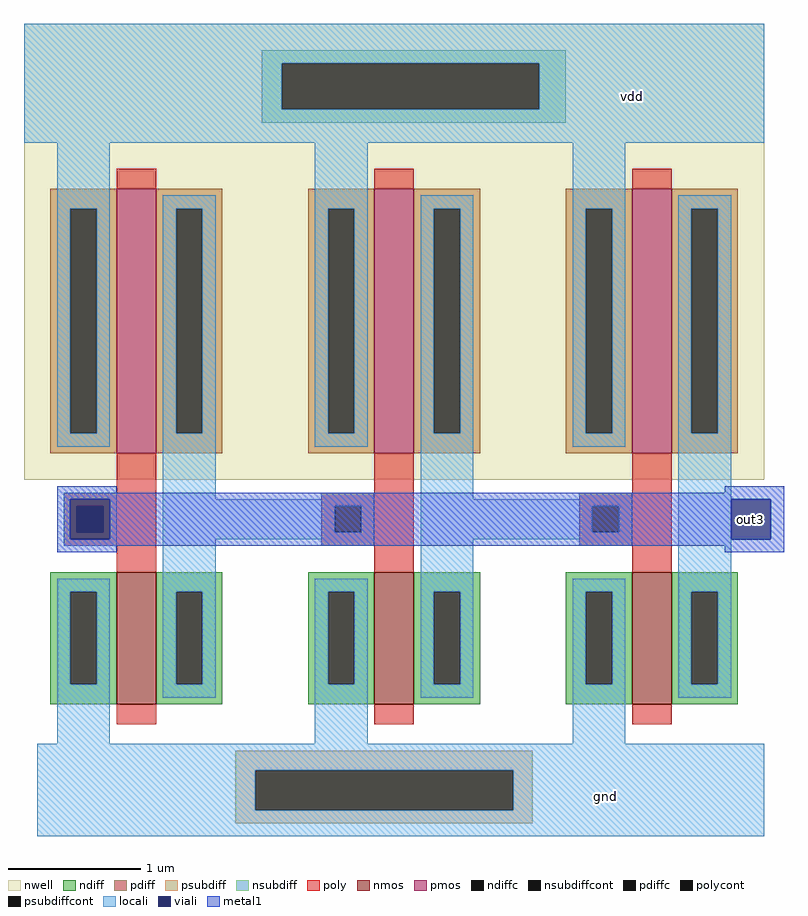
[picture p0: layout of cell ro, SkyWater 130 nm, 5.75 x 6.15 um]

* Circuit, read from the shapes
.subckt ro gnd out3 vdd
XM1 n1 out3 gnd gnd sky130_fd_pr__nfet_01v8 w=1 l=0.3
XM2 n2 n1 gnd gnd sky130_fd_pr__nfet_01v8 w=1 l=0.3
XM3 out3 n2 gnd gnd sky130_fd_pr__nfet_01v8 w=1 l=0.3
XM4 n1 out3 vdd vdd sky130_fd_pr__pfet_01v8 w=2 l=0.3
XM5 n2 n1 vdd vdd sky130_fd_pr__pfet_01v8 w=2 l=0.3
XM6 out3 n2 vdd vdd sky130_fd_pr__pfet_01v8 w=2 l=0.3
.ends

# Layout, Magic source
magic
tech sky130A
<< nwell >>
rect -60 160 500 505
<< nmos >>
rect 10 -10 40 90
rect 205 -10 235 90
rect 400 -10 430 90
<< pmos >>
rect 10 180 40 380
rect 205 180 235 380
rect 400 180 430 380
<< ndiff >>
rect -40 75 10 90
rect -40 5 -25 75
rect -5 5 10 75
rect -40 -10 10 5
rect 40 75 90 90
rect 40 5 55 75
rect 75 5 90 75
rect 40 -10 90 5
rect 155 75 205 90
rect 155 5 170 75
rect 190 5 205 75
rect 155 -10 205 5
rect 235 75 285 90
rect 235 5 250 75
rect 270 5 285 75
rect 235 -10 285 5
rect 350 75 400 90
rect 350 5 365 75
rect 385 5 400 75
rect 350 -10 400 5
rect 430 75 480 90
rect 430 5 445 75
rect 465 5 480 75
rect 430 -10 480 5
<< pdiff >>
rect -40 365 10 380
rect -40 195 -25 365
rect -5 195 10 365
rect -40 180 10 195
rect 40 365 90 380
rect 40 195 55 365
rect 75 195 90 365
rect 40 180 90 195
rect 155 365 205 380
rect 155 195 170 365
rect 190 195 205 365
rect 155 180 205 195
rect 235 365 285 380
rect 235 195 250 365
rect 270 195 285 365
rect 235 180 285 195
rect 350 365 400 380
rect 350 195 365 365
rect 385 195 400 365
rect 350 180 400 195
rect 430 365 480 380
rect 430 195 445 365
rect 465 195 480 365
rect 430 180 480 195
<< ndiffc >>
rect -25 5 -5 75
rect 55 5 75 75
rect 170 5 190 75
rect 250 5 270 75
rect 365 5 385 75
rect 445 5 465 75
<< pdiffc >>
rect -25 195 -5 365
rect 55 195 75 365
rect 170 195 190 365
rect 250 195 270 365
rect 365 195 385 365
rect 445 195 465 365
<< psubdiff >>
rect 100 -60 325 -45
rect 100 -90 115 -60
rect 310 -90 325 -60
rect 100 -100 325 -90
<< nsubdiff >>
rect 120 475 350 485
rect 120 440 135 475
rect 330 440 350 475
rect 120 430 350 440
<< psubdiffcont >>
rect 115 -90 310 -60
<< nsubdiffcont >>
rect 135 440 330 475
<< poly >>
rect 10 380 40 395
rect 205 380 235 395
rect 400 380 430 395
rect 10 150 40 180
rect 205 150 235 180
rect 400 150 430 180
rect -30 140 40 150
rect -30 120 -20 140
rect 0 120 40 140
rect -30 110 40 120
rect 165 140 235 150
rect 165 120 175 140
rect 195 120 235 140
rect 165 110 235 120
rect 360 140 430 150
rect 360 120 370 140
rect 390 120 430 140
rect 360 110 430 120
rect 10 90 40 110
rect 205 90 235 110
rect 400 90 430 110
rect 10 -25 40 -10
rect 205 -25 235 -10
rect 400 -25 430 -10
<< polycont >>
rect -20 120 0 140
rect 175 120 195 140
rect 370 120 390 140
<< locali >>
rect -60 475 500 505
rect -60 440 135 475
rect 330 440 500 475
rect -60 415 500 440
rect -35 365 5 415
rect -35 195 -25 365
rect -5 195 5 365
rect -35 185 5 195
rect 45 365 85 375
rect 45 195 55 365
rect 75 195 85 365
rect -30 145 10 150
rect -30 115 -25 145
rect 5 115 10 145
rect -30 110 10 115
rect 45 145 85 195
rect 160 365 200 415
rect 160 195 170 365
rect 190 195 200 365
rect 160 185 200 195
rect 240 365 280 375
rect 240 195 250 365
rect 270 195 280 365
rect 165 145 205 150
rect 45 140 205 145
rect 45 120 175 140
rect 195 120 205 140
rect 45 115 205 120
rect -35 75 5 85
rect -35 5 -25 75
rect -5 5 5 75
rect -35 -40 5 5
rect 45 75 85 115
rect 165 110 205 115
rect 240 145 280 195
rect 355 365 395 415
rect 355 195 365 365
rect 385 195 395 365
rect 355 185 395 195
rect 435 365 475 375
rect 435 195 445 365
rect 465 195 475 365
rect 360 145 400 150
rect 240 140 400 145
rect 240 120 370 140
rect 390 120 400 140
rect 240 115 400 120
rect 45 5 55 75
rect 75 5 85 75
rect 45 -5 85 5
rect 160 75 200 85
rect 160 5 170 75
rect 190 5 200 75
rect 160 -40 200 5
rect 240 75 280 115
rect 360 110 400 115
rect 240 5 250 75
rect 270 5 280 75
rect 240 -5 280 5
rect 355 75 395 85
rect 355 5 365 75
rect 385 5 395 75
rect 355 -40 395 5
rect 435 75 475 195
rect 435 5 445 75
rect 465 5 475 75
rect 435 -5 475 5
rect -50 -60 500 -40
rect -50 -90 115 -60
rect 310 -90 500 -60
rect -50 -110 500 -90
<< viali >>
rect -25 140 5 145
rect -25 120 -20 140
rect -20 120 0 140
rect 0 120 5 140
rect -25 115 5 120
rect 475 115 505 145
<< metal1 >>
rect -35 150 10 155
rect 470 150 515 155
rect -35 145 515 150
rect -35 115 -25 145
rect 5 115 475 145
rect 505 115 515 145
rect -35 110 515 115
rect -35 105 10 110
rect 470 105 515 110
<< labels >>
rlabel locali 400 450 400 450 1 vdd
rlabel locali 380 -80 380 -80 1 gnd
rlabel viali 490 130 490 130 1 out3
<< end >>
